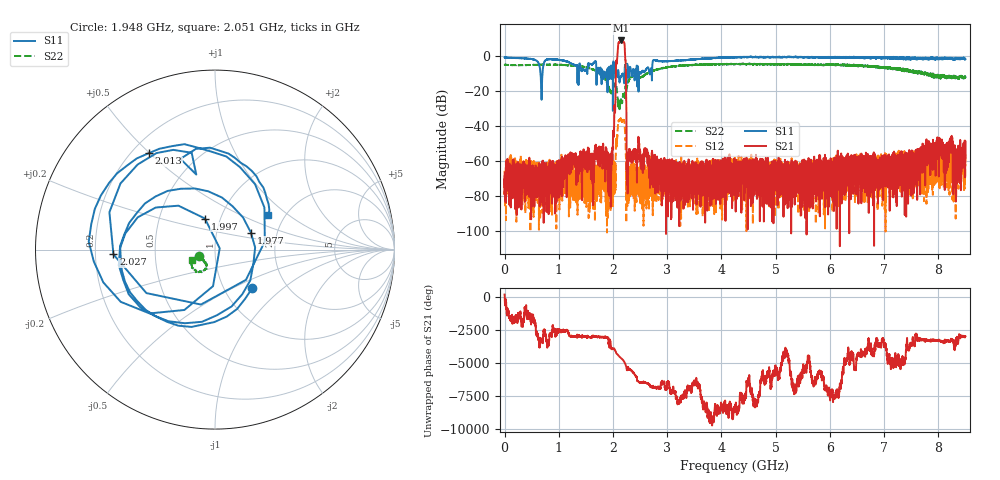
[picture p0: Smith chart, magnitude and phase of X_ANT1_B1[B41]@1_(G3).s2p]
#  HZ  S  RI  R  50.00
! Rohde & Schwarz Vector Network Analyzer
! Rohde-Schwarz,ZNBT8-20Port,1318700624101681,3.50
! Created: UTC 7/15/2025, 2:09:50 PM
! freq[Hz]  re:S1010  im:S1010  re:S0610  im:S0610  re:S1006  im:S1006  re:S66  im:S66
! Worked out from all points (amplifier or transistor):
!   8500 points, 1 MHz to 8.5 GHz, reference 50 ohm
!   highest |S21| = 8.9 dB at 2.144 GHz (marker M1)
!   |S21| within 3 dB of that: 2.094 GHz to 2.215 GHz (121.7 MHz wide, 5.65 % of centre)
!   unconditionally stable (mu >= 1): start of sweep to end of sweep
!   at 1.417 GHz: K = 956137.42, MAG = -56.0 dB, |S12| = -71.5 dB
!   at 4.251 GHz: K = 107599.70, MAG = -51.1 dB, |S12| = -66.0 dB
!   at 8.5 GHz: K = 182639.51, MAG = -53.1 dB, |S12| = -63.1 dB
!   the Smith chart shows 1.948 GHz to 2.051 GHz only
!   S11 on the Smith chart (normalised r, x): 1.948 GHz: 1.35, -0.64; 1.977 GHz: 1.46, +0.29; 1.997 GHz: 0.84, +0.30; 2.013 GHz: 0.27, +0.50; 2.027 GHz: 0.28, -0.02; 2.051 GHz: 1.65, +0.73
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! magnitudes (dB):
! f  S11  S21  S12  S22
! 1 MHz  -0.8  -75.0  -65.7  -5.0
! 1.418 GHz  -8.5  -62.8  -67.0  -6.0
! 1.705 GHz  -6.9  -53.4  -62.9  -8.9
! 1.948 GHz  -10.5  -59.4  -76.9  -20.2
! 1.977 GHz  -13.1  -57.3  -59.9  -20.6
! 1.997 GHz  -14.8  -52.8  -74.9  -19.2
! 2.013 GHz  -3.7  -44.7  -72.8  -17.4
! 2.027 GHz  -4.9  -28.3  -78.8  -15.6
! 2.051 GHz  -9.0  -12.8  -57.9  -17.1
! 2.093 GHz  -8.2  5.7  -39.3  -28.9
! 2.144 GHz  -11.6  8.9  -36.2  -24.7
! 2.205 GHz  -14.9  7.8  -37.1  -22.1
! 2.292 GHz  -11.1  -56.0  -72.5  -14.0
! 2.608 GHz  -7.7  -54.4  -80.0  -10.5
! 2.834 GHz  -2.8  -63.4  -69.8  -7.5
! 4.251 GHz  -0.6  -61.6  -66.0  -4.7
! 5.667 GHz  -0.4  -70.3  -59.7  -5.0
! 7.084 GHz  -0.9  -58.2  -63.4  -7.0
! 8.025 GHz  -1.2  -51.0  -75.7  -12.4
! 8.231 GHz  -0.9  -46.6  -56.0  -12.1
! 8.318 GHz  -1.7  -75.3  -58.4  -12.1
! 8.5 GHz  -1.8  -58.1  -63.1  -12.0
